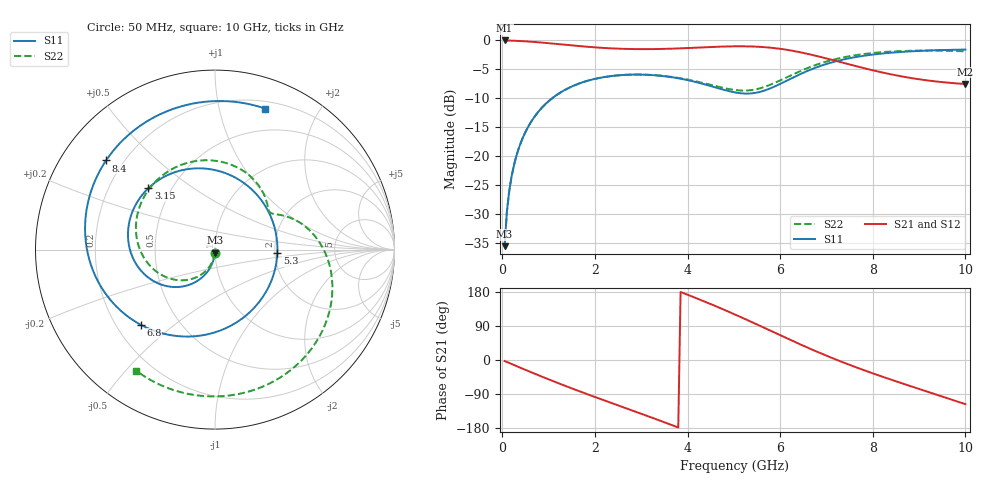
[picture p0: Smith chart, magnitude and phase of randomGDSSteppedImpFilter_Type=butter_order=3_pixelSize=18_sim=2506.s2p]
! freq	dB(S11)	phase(S11)	dB(S12)	phase(S12)
!  dB(S21)	phase(S21)	dB(S22)	phase(S22)
!S-par simulation data
#  GHz  S  DB  R 50
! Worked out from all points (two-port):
!   200 points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, 50 MHz to 10 GHz, reference 50 ohm
!   highest |S21| = 0.00 dB at 50 MHz (marker M1); lowest = -7.5 dB at 10 GHz (marker M2)
!   |S21| within 3 dB of the highest: start of sweep to 6.951 GHz
!   lowest |S11| = -35.5 dB at 50 MHz (marker M3), VSWR 1.03, Z = 49.9 - j1.68 ohm
!   |S11| at or under -10 dB: start of sweep to 1.072 GHz
!   |S22| runs from -35.5 to -1.7 dB; largest |S21 - S12| = 0
!   S11 on the Smith chart (normalised r, x): 50 MHz: 1.00, -0.03; 3.15 GHz: 0.37, +0.34; 5.3 GHz: 2.06, -0.09; 6.8 GHz: 0.30, -0.39; 8.4 GHz: 0.14, +0.35; 10 GHz: 0.27, +1.38
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0.05  -35.47 -92.3  -0.00 -2.7  -0.00 -2.7  -35.47 -92.9
0.1  -29.46 -94.8  -0.01 -5.3  -0.01 -5.3  -29.47 -96.0
0.2  -23.48 -99.6  -0.04 -10.5  -0.04 -10.5  -23.49 -102.0
0.5  -15.78 -113.6  -0.15 -26.0  -0.15 -26.0  -15.79 -119.5
1.1  -9.82 -140.1  -0.55 -55.9  -0.55 -55.9  -9.83 -152.9
1.75  -7.17 -166.8  -1.04 -86.3  -1.04 -86.3  -7.18 172.9
2.4  -6.10 167.6  -1.38 -115.3  -1.38 -115.3  -6.10 140.5
3.15  -5.94 137.4  -1.50 -148.5  -1.50 -148.5  -5.92 104.8
3.4  -6.09 126.5  -1.48 -159.7  -1.48 -159.7  -6.05 93.3
4.25  -7.32 82.7  -1.22 160.1  -1.22 160.1  -7.17 57.8
4.65  -8.21 55.5  -1.09 139.9  -1.09 139.9  -7.96 45.1
5.05  -9.00 21.5  -1.01 118.7  -1.01 118.7  -8.58 36.8
5.3  -9.16 -3.1  -1.02 105.0  -1.02 105.0  -8.63 33.7
5.9  -7.87 -63.8  -1.35 71.1  -1.35 71.1  -7.25 25.5
6.3  -6.31 -98.6  -1.83 48.6  -1.83 48.6  -5.76 14.9
6.7  -4.90 -128.0  -2.51 26.9  -2.51 26.9  -4.43 0.9
6.8  -4.60 -134.7  -2.70 21.7  -2.70 21.7  -4.14 -2.9
7.55  -2.98 -178.2  -4.25 -15.2  -4.25 -15.2  -2.65 -32.5
8.35  -2.15 143.0  -5.77 -50.0  -5.77 -50.0  -1.94 -62.9
8.4  -2.11 140.7  -5.85 -52.1  -5.85 -52.1  -1.92 -64.7
9.25  -1.72 103.2  -6.97 -86.3  -6.97 -86.3  -1.74 -95.2
10  -1.58 70.4  -7.51 -116.5  -7.51 -116.5  -1.88 -123.2
